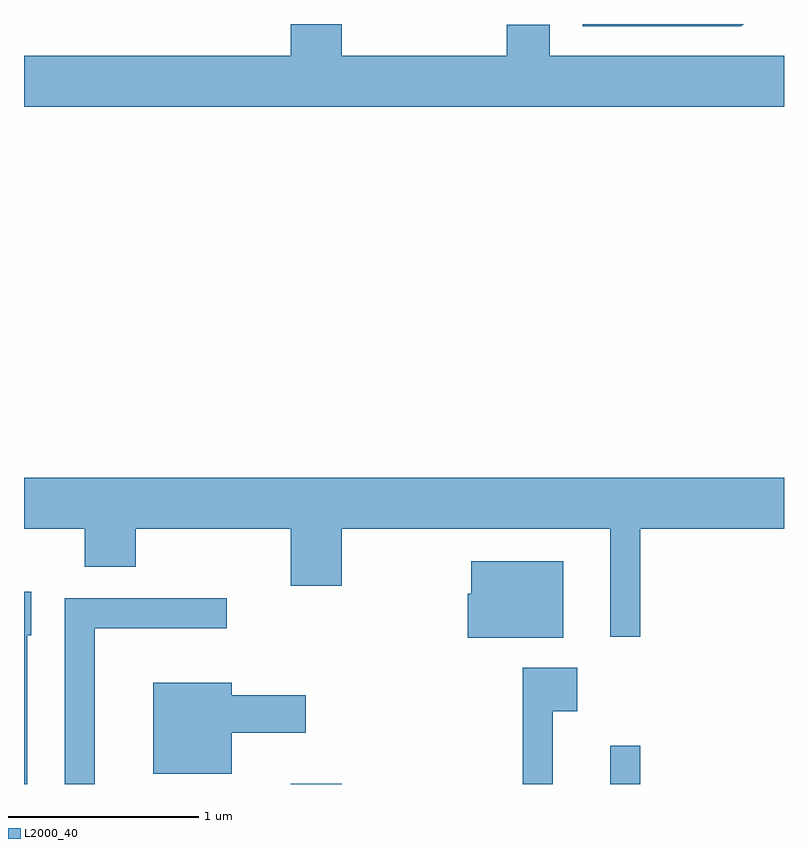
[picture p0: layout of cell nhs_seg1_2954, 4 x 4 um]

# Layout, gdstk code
import gdstk
lib = gdstk.Library(unit=1e-6, precision=1e-09)
def R(c, l, rs):  # rectangles x0, y0, x1, y1
    for r in rs: c.add(gdstk.rectangle(r[:2], r[2:], *l))
def P(c, l, *ps):  # polygons
    for p in ps: c.add(gdstk.Polygon(p, *l))
L2000_40 = (2000, 40)

nhs_seg1_2954 = lib.new_cell('nhs_seg1_2954')
R(nhs_seg1_2954, L2000_40, [(275.016,973.712,275.284,973.714), (276.696,973.712,276.854,973.913)])
P(nhs_seg1_2954, L2000_40, [(277.611,977.544),(276.379,977.544),(276.379,977.709),(276.151,977.709),(276.151,977.544),(275.284,977.544),(275.284,977.712),(275.016,977.712),(275.016,977.544),(273.611,977.544),(273.611,977.276),(277.611,977.276)],
  [(277.398,977.712),(276.551,977.712),(276.551,977.701),(277.387,977.701)],
  [(276.854,975.056),(277.611,975.056),(277.611,975.324),(273.611,975.324),(273.611,975.056),(273.931,975.056),(273.931,974.856),(274.199,974.856),(274.199,975.056),(275.016,975.056),(275.016,974.756),(275.284,974.756),(275.284,975.056),(276.696,975.056),(276.696,974.488),(276.854,974.488)],
  [(276.449,974.884),(275.966,974.884),(275.966,974.714),(275.946,974.714),(275.946,974.481),(276.449,974.481)],
  [(273.629,974.496),(273.649,974.496),(273.649,974.724),(273.611,974.724),(273.611,973.712),(273.629,973.712)],
  [(273.984,974.531),(274.678,974.531),(274.678,974.689),(273.826,974.689),(273.826,973.712),(273.984,973.712)],
  [(276.394,974.096),(276.524,974.096),(276.524,974.324),(276.236,974.324),(276.236,973.712),(276.394,973.712)],
  [(274.704,973.981),(275.094,973.981),(275.094,974.179),(274.704,974.179),(274.704,974.244),(274.291,974.244),(274.291,973.766),(274.704,973.766)])

lib.write_gds('nhs_seg1_2954.gds')
